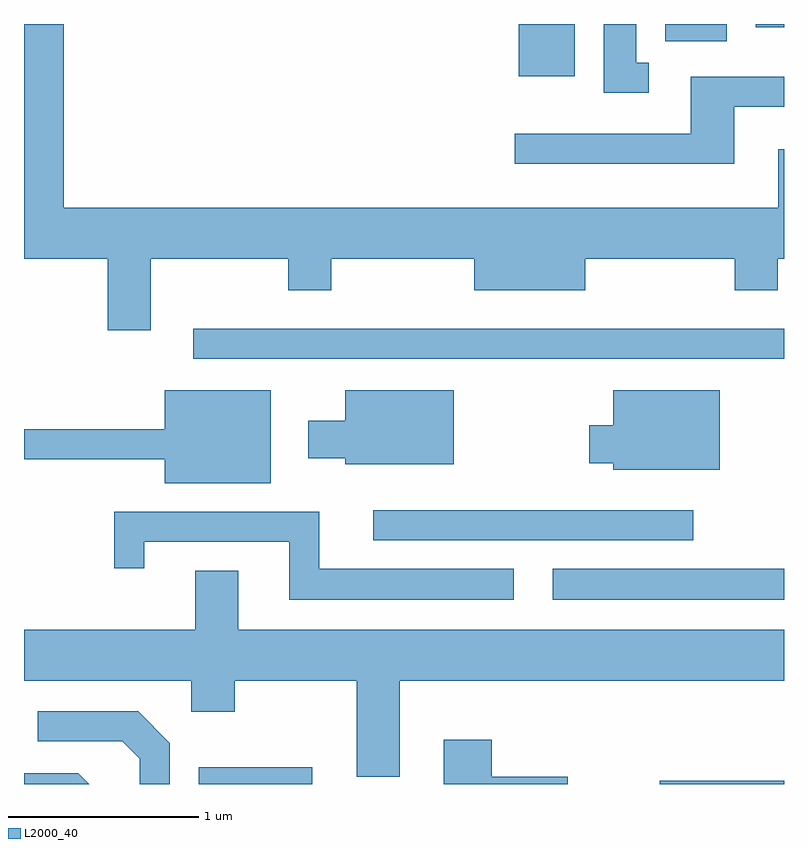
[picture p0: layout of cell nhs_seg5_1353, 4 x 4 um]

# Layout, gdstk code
import gdstk
lib = gdstk.Library(unit=1e-6, precision=1e-09)
def R(c, l, rs):  # rectangles x0, y0, x1, y1
    for r in rs: c.add(gdstk.rectangle(r[:2], r[2:], *l))
def P(c, l, *ps):  # polygons
    for p in ps: c.add(gdstk.Polygon(p, *l))
L2000_40 = (2000, 40)

nhs_seg5_1353 = lib.new_cell('nhs_seg5_1353')
R(nhs_seg5_1353, L2000_40, [(226.531,1414.072,227.129,1414.159), (228.956,1414.072,229.611,1414.089), (228.393,1415.041,229.611,1415.204), (227.448,1415.356,229.133,1415.514), (226.503,1416.311,229.611,1416.469), (228.216,1417.796,228.509,1418.072), (228.986,1417.981,229.309,1418.072), (229.461,1418.056,229.611,1418.072)])
P(nhs_seg5_1353, L2000_40, [(226.279,1416.836),(227.001,1416.836),(227.001,1416.671),(227.229,1416.671),(227.229,1416.836),(227.981,1416.836),(227.981,1416.671),(228.564,1416.671),(228.564,1416.836),(229.351,1416.836),(229.351,1416.671),(229.579,1416.671),(229.579,1416.836),(229.611,1416.836),(229.611,1417.414),(229.581,1417.414),(229.581,1417.104),(225.819,1417.104),(225.819,1418.072),(225.611,1418.072),(225.611,1416.836),(226.051,1416.836),(226.051,1416.461),(226.279,1416.461)],
  [(228.898,1417.869),(228.834,1417.869),(228.834,1418.072),(228.661,1418.072),(228.661,1417.711),(228.898,1417.711)],
  [(229.349,1417.636),(229.611,1417.636),(229.611,1417.794),(229.121,1417.794),(229.121,1417.494),(228.193,1417.494),(228.193,1417.336),(229.349,1417.336)],
  [(229.274,1416.144),(228.711,1416.144),(228.711,1415.959),(228.586,1415.959),(228.586,1415.761),(228.711,1415.761),(228.711,1415.726),(229.274,1415.726)],
  [(227.874,1416.144),(227.301,1416.144),(227.301,1415.984),(227.106,1415.984),(227.106,1415.786),(227.301,1415.786),(227.301,1415.756),(227.874,1415.756)],
  [(226.909,1416.144),(226.351,1416.144),(226.351,1415.939),(225.611,1415.939),(225.611,1415.781),(226.351,1415.781),(226.351,1415.656),(226.909,1415.656)],
  [(228.188,1415.204),(227.164,1415.204),(227.164,1415.504),(226.086,1415.504),(226.086,1415.208),(226.244,1415.208),(226.244,1415.346),(227.006,1415.346),(227.006,1415.041),(228.188,1415.041)],
  [(227.589,1414.616),(229.611,1414.616),(229.611,1414.884),(226.739,1414.884),(226.739,1415.194),(226.511,1415.194),(226.511,1414.884),(225.611,1414.884),(225.611,1414.616),(226.491,1414.616),(226.491,1414.451),(226.719,1414.451),(226.719,1414.616),(227.361,1414.616),(227.361,1414.111),(227.589,1414.111)],
  [(226.379,1414.287),(226.212,1414.454),(225.683,1414.454),(225.683,1414.296),(226.129,1414.296),(226.221,1414.204),(226.221,1414.072),(226.379,1414.072)],
  [(228.474,1414.109),(228.074,1414.109),(228.074,1414.304),(227.821,1414.304),(227.821,1414.072),(228.474,1414.072)],
  [(225.897,1414.129),(225.611,1414.129),(225.611,1414.072),(225.954,1414.072)])

lib.write_gds('nhs_seg5_1353.gds')
